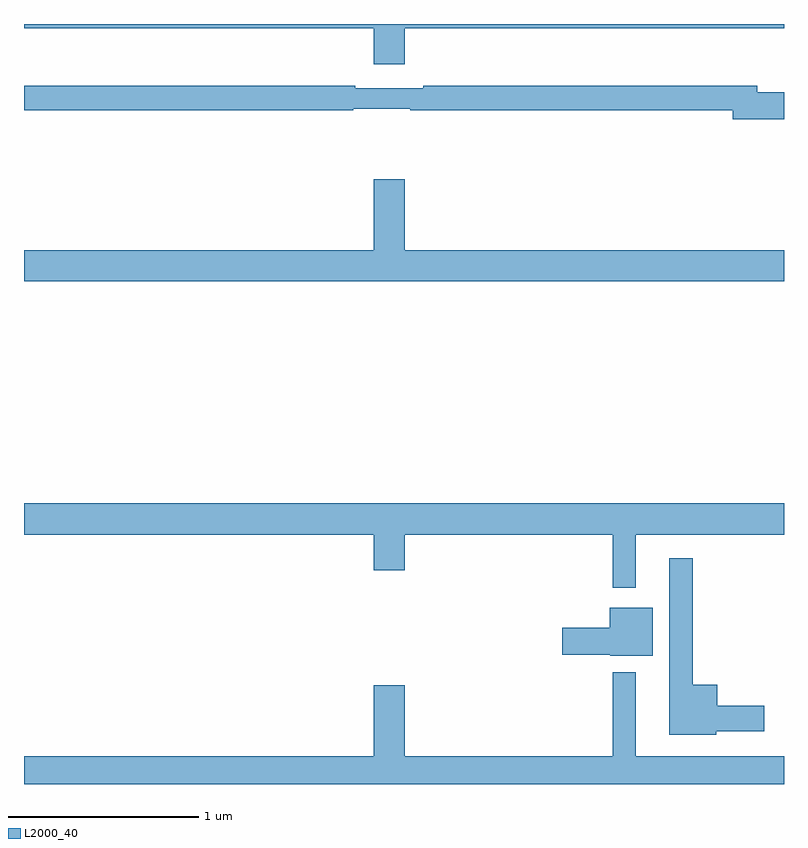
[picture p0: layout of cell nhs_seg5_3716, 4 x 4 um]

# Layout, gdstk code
import gdstk
lib = gdstk.Library(unit=1e-6, precision=1e-09)
def P(c, l, *ps):  # polygons
    for p in ps: c.add(gdstk.Polygon(p, *l))
L2000_40 = (2000, 40)

nhs_seg5_3716 = lib.new_cell('nhs_seg5_3716')
P(nhs_seg5_3716, L2000_40, [(333.004,840.776),(335,840.776),(335,840.799),(331,840.799),(331,840.776),(332.84,840.776),(332.84,840.588),(333.004,840.588)],
  [(335,840.441),(334.858,840.441),(334.858,840.475),(333.1,840.475),(333.1,840.462),(332.744,840.462),(332.744,840.475),(331,840.475),(331,840.346),(332.734,840.346),(332.734,840.354),(333.034,840.354),(333.034,840.346),(334.73,840.346),(334.73,840.299),(335,840.299)],
  [(335,839.608),(333.004,839.608),(333.004,839.983),(332.84,839.983),(332.84,839.608),(331,839.608),(331,839.444),(335,839.444)],
  [(334.219,838.112),(335,838.112),(335,838.276),(331,838.276),(331,838.112),(332.84,838.112),(332.84,837.924),(333.004,837.924),(333.004,838.112),(334.098,838.112),(334.098,837.831),(334.219,837.831)],
  [(334.644,837.077),(334.897,837.077),(334.897,837.212),(334.648,837.212),(334.648,837.322),(334.519,837.322),(334.519,837.988),(334.397,837.988),(334.397,837.059),(334.644,837.059)],
  [(334.309,837.727),(334.082,837.727),(334.082,837.621),(333.834,837.621),(333.834,837.479),(334.086,837.479),(334.086,837.473),(334.309,837.473)],
  [(332.84,837.319),(332.84,836.944),(331,836.944),(331,836.799),(335,836.799),(335,836.944),(334.219,836.944),(334.219,837.388),(334.098,837.388),(334.098,836.944),(333.004,836.944),(333.004,837.319)])

lib.write_gds('nhs_seg5_3716.gds')
